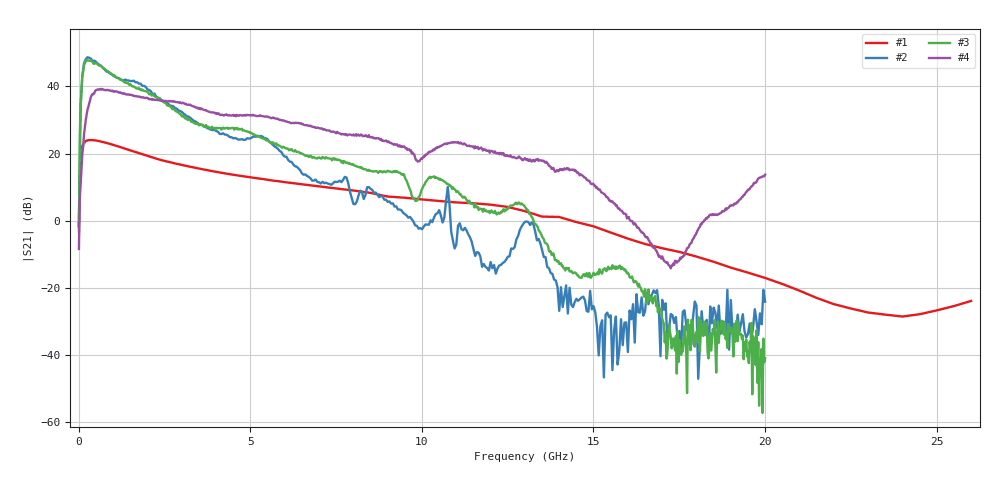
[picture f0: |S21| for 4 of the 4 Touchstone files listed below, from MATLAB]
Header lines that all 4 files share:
!Correction: S11(Full 2 Port(1,2))
!S21(Full 2 Port(1,2))
!S12(Full 2 Port(1,2))
!S22(Full 2 Port(1,2))
!S2P File: Measurements: S11, S21, S12, S22:
# Hz S  dB  R 50
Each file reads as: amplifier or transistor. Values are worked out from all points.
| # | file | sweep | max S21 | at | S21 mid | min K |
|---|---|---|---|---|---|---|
| 1 | PMA2-63LN+_5.00V_42mA_Plus25DegC_Unit1.s2p | 10 MHz to 26 GHz | 24.0 dB | 300 MHz | 12.4 dB at 5.4 GHz | 1.04 |
| 2 | RF-DFS-RevA-6G.s2p | 10 MHz to 20 GHz | 48.6 dB | 259.9 MHz | -2.5 dB at 10.01 GHz | 0.15 |
| 3 | RF-DFS-RevC-6G.s2p | 10 MHz to 20 GHz | 47.8 dB | 234.9 MHz | 9.4 dB at 10.01 GHz | 0.83 |
| 4 | RF-DFS-RevC-12G.s2p | 10 MHz to 20 GHz | 39.2 dB | 684.7 MHz | 18.4 dB at 10.01 GHz | 0.44 |
